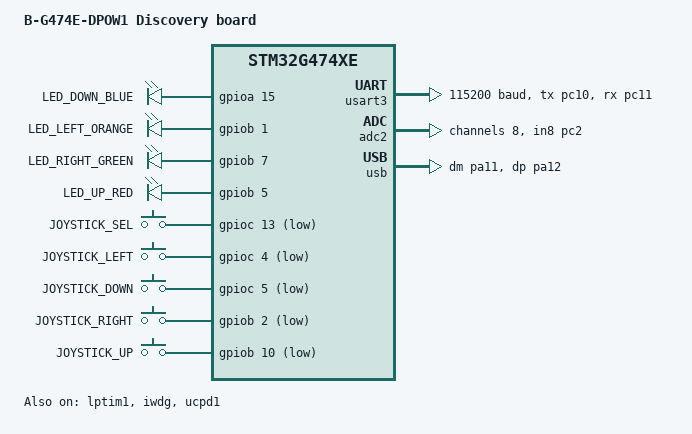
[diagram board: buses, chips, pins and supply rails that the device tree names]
/*
 * Copyright 2022 The Chromium OS Authors
 *
 * SPDX-License-Identifier: Apache-2.0
 */

/dts-v1/;
#include <st/g4/stm32g474Xe.dtsi>
#include <st/g4/stm32g474r(b-c-e)tx-pinctrl.dtsi>

/ {
	model = "B-G474E-DPOW1 Discovery board";
	compatible = "st,b-g474e-dpow1";

	chosen {
		zephyr,console = &usart3;
		zephyr,shell-uart = &usart3;
		zephyr,sram = &sram0;
		zephyr,flash = &flash0;
	};

	leds {
		compatible = "gpio-leds";
		blue_led_2: led2 {
			gpios = <&gpioa 15 GPIO_ACTIVE_HIGH>;
			label = "LED_DOWN_BLUE";
		};
		orange_led_3: led3 {
			gpios = <&gpiob 1 GPIO_ACTIVE_HIGH>;
			label = "LED_LEFT_ORANGE";
		};
		green_led_4: led4 {
			gpios = <&gpiob 7 GPIO_ACTIVE_HIGH>;
			label = "LED_RIGHT_GREEN";
		};
		red_led_5: led5 {
			gpios = <&gpiob 5 GPIO_ACTIVE_HIGH>;
			label = "LED_UP_RED";
		};
	};

	gpio_keys {
		compatible = "gpio-keys";
		joystick_sel: button0 {
			label = "JOYSTICK_SEL";
			gpios = <&gpioc 13 (GPIO_ACTIVE_LOW | GPIO_PULL_UP)>;
		};
		joystick_left: button1 {
			label = "JOYSTICK_LEFT";
			gpios = <&gpioc 4 (GPIO_ACTIVE_LOW | GPIO_PULL_UP)>;
		};
		joystick_down: button2 {
			label = "JOYSTICK_DOWN";
			gpios = <&gpioc 5 (GPIO_ACTIVE_LOW | GPIO_PULL_UP)>;
		};
		joystick_right: button3 {
			label = "JOYSTICK_RIGHT";
			gpios = <&gpiob 2 (GPIO_ACTIVE_LOW | GPIO_PULL_UP)>;
		};
		joystick_up: button4 {
			label = "JOYSTICK_UP";
			gpios = <&gpiob 10 (GPIO_ACTIVE_LOW | GPIO_PULL_UP)>;
		};
	};

	power-states {
		stop0: state0 {
				compatible = "zephyr,power-state";
				power-state-name = "suspend-to-idle";
				substate-id = <1>;
				min-residency-us = <20>;
			};
		stop1: state1 {
				compatible = "zephyr,power-state";
				power-state-name = "suspend-to-idle";
				substate-id = <2>;
				min-residency-us = <100>;
			};
	};

	cpus {
		cpu@0 {
			cpu-power-states = <&stop0 &stop1>;
		};
	};

	aliases {
		led0 = &blue_led_2;
		led1 = &orange_led_3;
		led2 = &green_led_4;
		led3 = &red_led_5;
		sw0 = &joystick_sel;
		sw1 = &joystick_left;
		sw2 = &joystick_down;
		sw3 = &joystick_right;
		sw4 = &joystick_up;
		watchdog0 = &iwdg;
	};
};

&clk_lsi {
	status = "okay";
};

&clk_hsi48 {
	status = "okay";
};

&clk_hsi {
	status = "okay";
};

&lptim1 {
	clocks = <&rcc STM32_CLOCK_BUS_APB1 0x80000000>,
	<&rcc STM32_SRC_LSI LPTIM1_SEL(1)>;
	status = "okay";
};

&pll {
	div-m = <1>;
	mul-n = <16>;
	div-p = <7>;
	div-q = <2>;
	div-r = <2>;
	clocks = <&clk_hsi>;
	status = "okay";
};

&rcc {
	clocks = <&pll>;
	clock-frequency = <DT_FREQ_M(128)>;
	ahb-prescaler = <1>;
	apb1-prescaler = <1>;
	apb2-prescaler = <1>;
};

&usart3 {
	pinctrl-0 = <&usart3_tx_pc10 &usart3_rx_pc11>;
	pinctrl-1 = <&analog_pc10 &analog_pc11>;
	pinctrl-names = "default", "sleep";
	current-speed = <115200>;
	status = "okay";
};

&iwdg {
	status = "okay";
};

&adc2 {
	pinctrl-0 = <&adc2_in8_pc2>;
	pinctrl-names = "default";
	status = "okay";

	#address-cells = <1>;
	#size-cells = <0>;

	channel@8 {
		reg = <8>;
		zephyr,gain = "ADC_GAIN_1";
		zephyr,reference = "ADC_REF_INTERNAL";
		zephyr,acquisition-time = <ADC_ACQ_TIME_DEFAULT>;
		zephyr,resolution = <12>;
		zephyr,vref-mv = <3300>;
	};
};

&ucpd1 {
	status = "okay";

	/*
	 * UCPD is fed directly from HSI which is @ 16MHz. The ucpd_clk goes to
	 * a prescaler who's output feeds the 'half-bit' divider which is used
	 * to generate clock for delay counters and BMC Rx/Tx blocks. The rx is
	 * designed to work in freq ranges of 6 <--> 18 MHz, however recommended
	 * range is 9 <--> 18 MHz.
	 *
	 *          +-------+ @ 16 MHz +-------+   @ ~600 kHz   +-----------+
	 * HSI ---->| /psc  |--------->| /hbit |--------------->| trans_cnt |
	 *          +-------+          +-------+   |            +-----------+
	 *                                         |            +-----------+
	 *                                         +----------->| ifrgap_cnt|
	 *                                                      +-----------+
	 * Requirements:
	 *   1. hbit_clk ~= 600 kHz: 16 MHz / 600 kHz = 26.67
	 *   2. tTransitionWindow - 12 to 20 uSec
	 *   3. tInterframGap - uSec
	 *
	 * hbit_clk = HSI_clk / 27 = 592.6 kHz = 1.687 uSec period
	 * tTransitionWindow = 1.687 uS * 8 = 13.5 uS
	 * tInterFrameGap = 1.687 uS * 17 = 28.68 uS
	 */
	psc-ucpdclk = <1>;
	hbitclkdiv = <27>;
	pinctrl-0 = <&ucpd1_cc1_pb6 &ucpd1_cc2_pb4>;
	pinctrl-names = "default";
};

zephyr_udc0: &usb {
	pinctrl-0 = <&usb_dm_pa11 &usb_dp_pa12>;
	pinctrl-names = "default";
	status = "okay";
};
